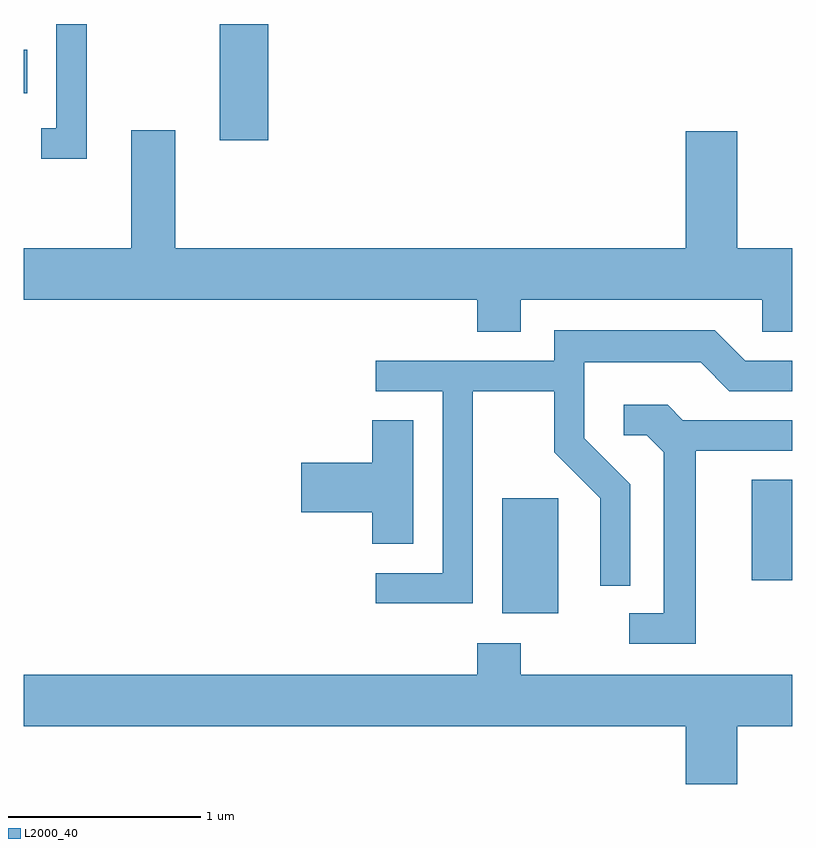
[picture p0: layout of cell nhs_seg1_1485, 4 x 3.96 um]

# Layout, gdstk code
import gdstk
lib = gdstk.Library(unit=1e-6, precision=1e-09)
def R(c, l, rs):  # rectangles x0, y0, x1, y1
    for r in rs: c.add(gdstk.rectangle(r[:2], r[2:], *l))
def P(c, l, *ps):  # polygons
    for p in ps: c.add(gdstk.Polygon(p, *l))
L2000_40 = (2000, 40)

nhs_seg1_1485 = lib.new_cell('nhs_seg1_1485')
R(nhs_seg1_1485, L2000_40, [(234.101,864.646,234.394,865.244), (235.401,864.816,235.611,865.339), (232.631,867.106,232.884,867.712), (231.611,867.351,231.629,867.579)])
P(nhs_seg1_1485, L2000_40, [(231.939,867.712),(231.781,867.712),(231.781,867.169),(231.703,867.169),(231.703,867.011),(231.939,867.011)],
  [(234.199,866.276),(235.456,866.276),(235.456,866.111),(235.611,866.111),(235.611,866.544),(235.324,866.544),(235.324,867.154),(235.056,867.154),(235.056,866.544),(232.399,866.544),(232.399,867.159),(232.171,867.159),(232.171,866.544),(231.611,866.544),(231.611,866.276),(233.971,866.276),(233.971,866.111),(234.199,866.111)],
  [(233.949,865.801),(234.371,865.801),(234.371,865.484),(234.611,865.244),(234.611,864.788),(234.769,864.788),(234.769,865.317),(234.529,865.557),(234.529,865.951),(235.134,865.951),(235.284,865.801),(235.611,865.801),(235.611,865.959),(235.367,865.959),(235.207,866.119),(234.371,866.119),(234.371,865.959),(233.443,865.959),(233.443,865.801),(233.791,865.801),(233.791,864.854),(233.443,864.854),(233.443,864.696),(233.949,864.696)],
  [(235.109,865.491),(235.611,865.491),(235.611,865.649),(235.042,865.649),(234.962,865.729),(234.733,865.729),(234.733,865.571),(234.854,865.571),(234.941,865.484),(234.941,864.644),(234.763,864.644),(234.763,864.486),(235.109,864.486)],
  [(233.639,865.649),(233.426,865.649),(233.426,865.429),(233.056,865.429),(233.056,865.171),(233.426,865.171),(233.426,865.006),(233.639,865.006)],
  [(235.324,864.056),(235.611,864.056),(235.611,864.324),(234.199,864.324),(234.199,864.489),(233.971,864.489),(233.971,864.324),(231.611,864.324),(231.611,864.056),(235.056,864.056),(235.056,863.756),(235.324,863.756)])

lib.write_gds('nhs_seg1_1485.gds')
